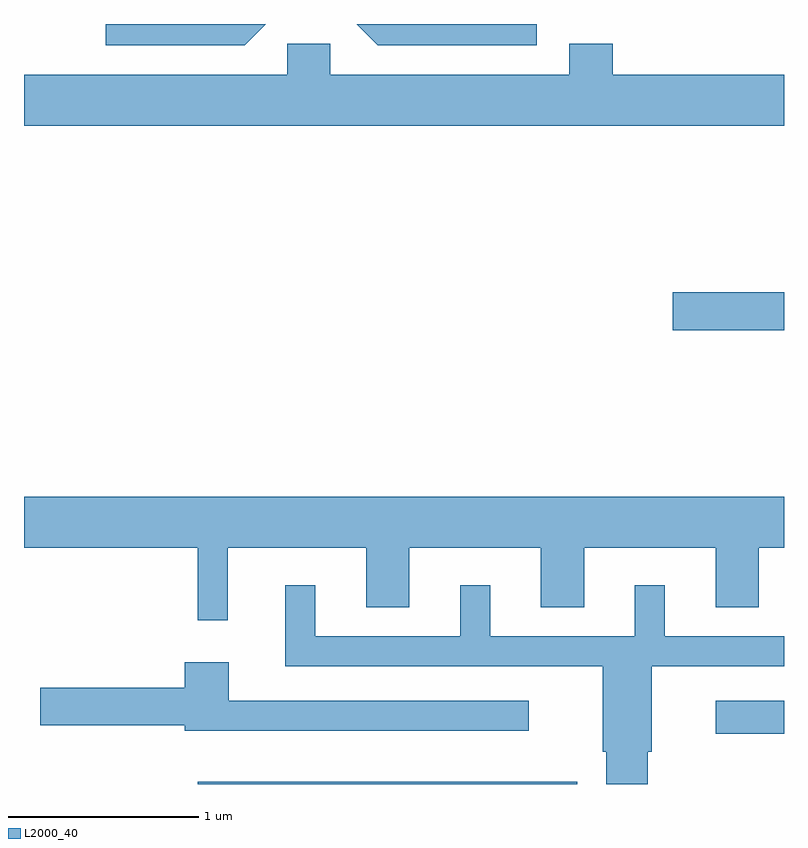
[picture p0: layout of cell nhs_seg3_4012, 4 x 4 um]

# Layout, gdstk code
import gdstk
lib = gdstk.Library(unit=1e-6, precision=1e-09)
def R(c, l, rs):  # rectangles x0, y0, x1, y1
    for r in rs: c.add(gdstk.rectangle(r[:2], r[2:], *l))
def P(c, l, *ps):  # polygons
    for p in ps: c.add(gdstk.Polygon(p, *l))
L2000_40 = (2000, 40)

nhs_seg3_4012 = lib.new_cell('nhs_seg3_4012')
R(nhs_seg3_4012, L2000_40, [(304.526,1115.892,306.524,1115.904), (307.251,1116.156,307.611,1116.329), (307.026,1118.281,307.611,1118.479)])
P(nhs_seg3_4012, L2000_40, [(304.883,1119.892),(304.041,1119.892),(304.041,1119.781),(304.772,1119.781)],
  [(306.309,1119.892),(305.363,1119.892),(305.474,1119.781),(306.309,1119.781)],
  [(307.611,1119.624),(306.709,1119.624),(306.709,1119.789),(306.481,1119.789),(306.481,1119.624),(305.224,1119.624),(305.224,1119.789),(304.996,1119.789),(304.996,1119.624),(303.611,1119.624),(303.611,1119.356),(307.611,1119.356)],
  [(304.684,1117.136),(305.411,1117.136),(305.411,1116.821),(305.639,1116.821),(305.639,1117.136),(306.331,1117.136),(306.331,1116.821),(306.559,1116.821),(306.559,1117.136),(307.251,1117.136),(307.251,1116.821),(307.479,1116.821),(307.479,1117.136),(307.611,1117.136),(307.611,1117.404),(303.611,1117.404),(303.611,1117.136),(304.526,1117.136),(304.526,1116.753),(304.684,1116.753)],
  [(306.894,1116.061),(306.914,1116.061),(306.914,1116.511),(307.611,1116.511),(307.611,1116.669),(306.984,1116.669),(306.984,1116.938),(306.826,1116.938),(306.826,1116.669),(306.064,1116.669),(306.064,1116.938),(305.906,1116.938),(305.906,1116.669),(305.144,1116.669),(305.144,1116.938),(304.986,1116.938),(304.986,1116.511),(306.656,1116.511),(306.656,1116.061),(306.676,1116.061),(306.676,1115.892),(306.894,1115.892)],
  [(306.268,1116.329),(304.689,1116.329),(304.689,1116.534),(304.456,1116.534),(304.456,1116.399),(303.696,1116.399),(303.696,1116.201),(304.456,1116.201),(304.456,1116.171),(306.268,1116.171)])

lib.write_gds('nhs_seg3_4012.gds')
